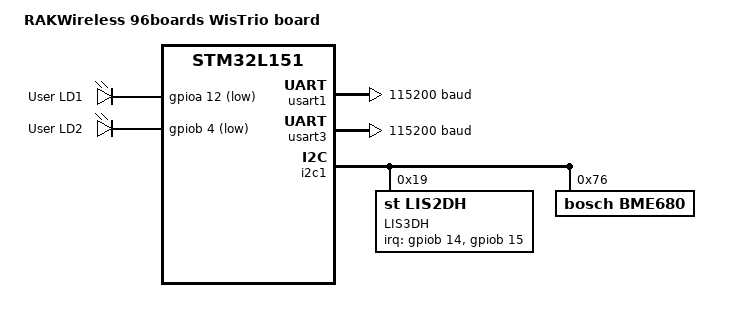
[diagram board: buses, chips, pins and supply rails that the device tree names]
/*
 * Copyright (c) 2019 Linaro Limited
 *
 * SPDX-License-Identifier: Apache-2.0
 */

/dts-v1/;
#include <st/l1/stm32l151Xb.dtsi>

/ {
	model = "RAKWireless 96boards WisTrio board";
	compatible = "rak,wistrio", "st,stm32l151";

	chosen {
		zephyr,console = &usart1;
		zephyr,shell-uart = &usart1;
		zephyr,sram = &sram0;
		zephyr,flash = &flash0;
	};

	leds {
		compatible = "gpio-leds";
		green_led_0: led_0 {
			gpios = <&gpioa 12 GPIO_INT_ACTIVE_LOW>;
			label = "User LD1";
		};
		blue_led_0: led_1 {
			gpios = <&gpiob 4 GPIO_INT_ACTIVE_LOW>;
			label = "User LD2";
		};
	};

	aliases {
		led0 = &green_led_0;
		led1 = &blue_led_0;
	};
};

&usart1 {
	current-speed = <115200>;
	pinctrl-0 = <&usart1_pins_b>;
	pinctrl-names = "default";
	status = "okay";
};

&usart3 {
	current-speed = <115200>;
	pinctrl-0 = <&usart3_pins_a>;
	pinctrl-names = "default";
	status = "okay";
};

&i2c1 {
	status = "okay";

	lis3dh@19 {
		compatible = "st,lis2dh";
		reg = <0x19>;
		irq-gpios = <&gpiob 14 0>, <&gpiob 15 0>;
		label = "LIS3DH";
	};

	bme680@76 {
		compatible = "bosch,bme680";
		reg = <0x76>;
		label = "BME680";
	};
};
